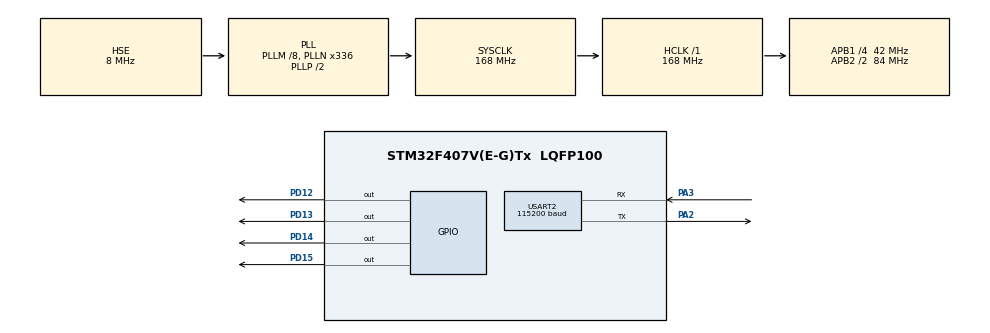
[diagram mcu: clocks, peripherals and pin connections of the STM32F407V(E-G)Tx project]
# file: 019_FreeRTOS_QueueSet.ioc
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FREERTOS.Tasks01=defaultTask,24,128,StartDefaultTask,Default,NULL,Dynamic,NULL,NULL
FREERTOS.configUSE_NEWLIB_REENTRANT=1
Mcu.Family=STM32F4
Mcu.Name=STM32F407V(E-G)Tx
Mcu.Package=LQFP100
NVIC.PriorityGroup=NVIC_PRIORITYGROUP_4
NVIC.TIM8_TRG_COM_TIM14_IRQn=true\:15\:0\:false\:false\:true\:false\:false\:true\:true
NVIC.TimeBase=TIM8_TRG_COM_TIM14_IRQn
NVIC.TimeBaseIP=TIM14
NVIC.USART2_IRQn=true\:5\:0\:false\:false\:true\:true\:true\:true\:true
PA2.Mode=Asynchronous
PA2.Signal=USART2_TX
PA3.Mode=Asynchronous
PA3.Signal=USART2_RX
PD12.Signal=GPIO_Output
PD13.Signal=GPIO_Output
PD14.Signal=GPIO_Output
PD15.Signal=GPIO_Output
PH0-OSC_IN.Mode=HSE-External-Oscillator
PH0-OSC_IN.Signal=RCC_OSC_IN
PH1-OSC_OUT.Mode=HSE-External-Oscillator
PH1-OSC_OUT.Signal=RCC_OSC_OUT
ProjectManager.HeapSize=0x200
ProjectManager.StackSize=0x400
ProjectManager.TargetToolchain=STM32CubeIDE
RCC.48MHZClocksFreq_Value=48000000
RCC.AHBFreq_Value=168000000
RCC.APB1CLKDivider=RCC_HCLK_DIV4
RCC.APB1Freq_Value=42000000
RCC.APB1TimFreq_Value=84000000
RCC.APB2CLKDivider=RCC_HCLK_DIV2
RCC.APB2Freq_Value=84000000
RCC.APB2TimFreq_Value=168000000
RCC.CortexFreq_Value=168000000
RCC.HCLKFreq_Value=168000000
RCC.HSE_VALUE=8000000
RCC.HSI_VALUE=16000000
RCC.LSE_VALUE=32768
RCC.PLLM=8
RCC.PLLN=336
RCC.PLLQ=7
RCC.PLLSourceVirtual=RCC_PLLSOURCE_HSE
RCC.SYSCLKFreq_VALUE=168000000
RCC.SYSCLKSource=RCC_SYSCLKSOURCE_PLLCLK
RCC.VCOOutputFreq_Value=336000000
USART2.BaudRate=115200
USART2.VirtualMode=VM_ASYNC
VP_FREERTOS_VS_CMSIS_V2.Mode=CMSIS_V2
VP_SYS_VS_tim14.Mode=TIM14
board=STM32F407G-DISC1

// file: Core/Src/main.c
/* USER CODE BEGIN Header */
/**
  ******************************************************************************
  * @file           : main.c
  * @brief          : Main program body
  ******************************************************************************
  * @attention
  *
  * Copyright (c) 2023 STMicroelectronics.
  * All rights reserved.
  *
  * This software is licensed under terms that can be found in the LICENSE file
  * in the root directory of this software component.
  * If no LICENSE file comes with this software, it is provided AS-IS.
  *
  ******************************************************************************
  */
/* USER CODE END Header */
#include "main.h"

/* USER CODE BEGIN Includes */
#include "FreeRTOS.h"
#include "task.h"
#include "queue.h"
#include <stdio.h>
#include <string.h>
/* USER CODE END Includes */

UART_HandleTypeDef huart2;

/* Definitions for defaultTask */
/* USER CODE BEGIN PV */
/* Declare two variables of type QueueHandle_t. Both queues are added to the same queue set. */
static QueueHandle_t xQueue1 = NULL, xQueue2 = NULL;

/* Declare a variable of type QueueSetHandle_t. This is  the queue set to which the two queues are added */
static QueueSetHandle_t xQueueSet = NULL;
/* USER CODE END PV */

void SystemClock_Config(void);
static void MX_GPIO_Init(void);
static void MX_USART2_UART_Init(void);

/* USER CODE BEGIN 0 */
void vSenderTask1(void *pvParameters)
{
	const TickType_t xBlockTime = pdMS_TO_TICKS(100);
	const char * const pcMessage = "Message from vSenderTask1\r\n";

	/* As per most tasks, this task is implemented within an infinite loop */
	for(;;)
	{
		/* Block for 100ms */
		vTaskDelay(xBlockTime);

		/* Send this task's string to xQueue1. It is not necessary to use a block time, even though
		 * the queue can only one item, This is because the priority of the task that reads from the queue
		 * is higher than the priority of this task; as soon as this task writes to queue it will be pre-empted
		 * by the task reads from the queue, so the queue will already be empty again by the time the call to xQueueSend()
		 * returns. The block time is set to 0 */
		xQueueSend(xQueue1, &pcMessage, 0);
	}
}
void vSenderTask2(void *pvParameters)
{
	const TickType_t xBlockTime = pdMS_TO_TICKS(200);
	const char * const pcMessage = "Message from vSenderTask2\r\n";
	/* As per most tasks, this task is implemented within an infinite loop. */
	for(;;)
	{
		/* Block for 200ms. */
		 vTaskDelay( xBlockTime );
		 /* Send this task's string to xQueue2. It is not necessary to use a block
		 time, even though the queue can only hold one item. This is because the
		 priority of the task that reads from the queue is higher than the priority of
		 this task; as soon as this task writes to the queue it will be pre-empted by
		 the task that reads from the queue, so the queue will already be empty again
		 by the time the call to xQueueSend() returns. The block time is set to 0. */
		 xQueueSend( xQueue2, &pcMessage, 0 );
	}
}
void vReceiverTask(void *pvParameters)
{
	QueueHandle_t xQueueThatContainsData;
	char *pcReceivedString;
	/* as per most tasks, this task is implemented within infinite loop */
	for(;;)
	{
		/* Block on the queue set to wait for one of the queues in the set to contain data.
		 Cast the QueueSetMemberHandle_t value returned from xQueueSelectFromSet() to a
		 QueueHandle_t, as it is known all the members of the set are queues (the queue set
		 does not contain any semaphores). */
		xQueueThatContainsData = (QueueHandle_t) xQueueSelectFromSet(xQueueSet, portMAX_DELAY);
		/* An indefinite block time was used when reading from the queue set, so
		 xQueueSelectFromSet() will not have returned unless one of the queues in the set
		 contained data, and xQueueThatContainsData cannot be NULL. Read from the queue. It
		 is not necessary to specify a block time because it is known the queue contains
		 data. The block time is set to 0. */
		xQueueReceive(xQueueThatContainsData, &pcReceivedString, 0);

		HAL_UART_Transmit(&huart2, (uint8_t *)pcReceivedString,  strlen(pcReceivedString), HAL_MAX_DELAY);

	}
}
/* USER CODE END 0 */

int main(void)
{

  /* MCU Configuration--------------------------------------------------------*/

  /* Reset of all peripherals, Initializes the Flash interface and the Systick. */
  HAL_Init();

  /* Configure the system clock */
  SystemClock_Config();

  /* Initialize all configured peripherals */
  MX_GPIO_Init();
  MX_USART2_UART_Init();
  /* USER CODE BEGIN 2 */
  /* Create the two queues, both of which send character pointers. The priority of the receiving task is above the priority of
   * the sending tasks, so the queues will never have more than one item in them at any one time */
  xQueue1 = xQueueCreate(1, sizeof(char *));
  xQueue2 = xQueueCreate(1, sizeof(char *));

  /* Create the queue set. Two queues will be added to the set, each of which can contain 1 item, so the maximum number of queue,
   * handles the queue set will ever have to hold at one time is 2(2 queues mulitples by 1 item per queue.) */
  xQueueSet = xQueueCreateSet(1 * 2);

  /* Add the two queues to the set */
  xQueueAddToSet(xQueue1, xQueueSet);
  xQueueAddToSet(xQueue2, xQueueSet);

  /* Create the tasks that send to the queues */
  xTaskCreate(vSenderTask1, "Sender1", 1000, NULL, 1, NULL);
  xTaskCreate(vSenderTask2, "Sender2", 1000, NULL, 1, NULL);

  /* Create the task that reads from the queue set to determine which of the two queues contain data */
  xTaskCreate(vReceiverTask, "Receiver", 1000, NULL, 2, NULL);

  /* Start the scheduler so the created taks start executing */
  vTaskStartScheduler();
  /* USER CODE END 2 */

  /* Init scheduler */

  /* Create the thread(s) */
  /* creation of defaultTask */

  /* Start scheduler */
  /* We should never get here as control is now taken by the scheduler */
  /* Infinite loop */
  while (1)
  {

  }
}

void SystemClock_Config(void)
{
  RCC_OscInitTypeDef RCC_OscInitStruct = {0};
  RCC_ClkInitTypeDef RCC_ClkInitStruct = {0};

  /** Configure the main internal regulator output voltage
  */
  __HAL_RCC_PWR_CLK_ENABLE();
  __HAL_PWR_VOLTAGESCALING_CONFIG(PWR_REGULATOR_VOLTAGE_SCALE1);

  /** Initializes the RCC Oscillators according to the specified parameters
  * in the RCC_OscInitTypeDef structure.
  */
  RCC_OscInitStruct.OscillatorType = RCC_OSCILLATORTYPE_HSE;
  RCC_OscInitStruct.HSEState = RCC_HSE_ON;
  RCC_OscInitStruct.PLL.PLLState = RCC_PLL_ON;
  RCC_OscInitStruct.PLL.PLLSource = RCC_PLLSOURCE_HSE;
  RCC_OscInitStruct.PLL.PLLM = 8;
  RCC_OscInitStruct.PLL.PLLN = 336;
  RCC_OscInitStruct.PLL.PLLP = RCC_PLLP_DIV2;
  RCC_OscInitStruct.PLL.PLLQ = 7;
  if (HAL_RCC_OscConfig(&RCC_OscInitStruct) != HAL_OK)
  {
    Error_Handler();
  }

  /** Initializes the CPU, AHB and APB buses clocks
  */
  RCC_ClkInitStruct.ClockType = RCC_CLOCKTYPE_HCLK|RCC_CLOCKTYPE_SYSCLK
                              |RCC_CLOCKTYPE_PCLK1|RCC_CLOCKTYPE_PCLK2;
  RCC_ClkInitStruct.SYSCLKSource = RCC_SYSCLKSOURCE_PLLCLK;
  RCC_ClkInitStruct.AHBCLKDivider = RCC_SYSCLK_DIV1;
  RCC_ClkInitStruct.APB1CLKDivider = RCC_HCLK_DIV4;
  RCC_ClkInitStruct.APB2CLKDivider = RCC_HCLK_DIV2;

  if (HAL_RCC_ClockConfig(&RCC_ClkInitStruct, FLASH_LATENCY_5) != HAL_OK)
  {
    Error_Handler();
  }
}

static void MX_USART2_UART_Init(void)
{

  huart2.Instance = USART2;
  huart2.Init.BaudRate = 115200;
  huart2.Init.WordLength = UART_WORDLENGTH_8B;
  huart2.Init.StopBits = UART_STOPBITS_1;
  huart2.Init.Parity = UART_PARITY_NONE;
  huart2.Init.Mode = UART_MODE_TX_RX;
  huart2.Init.HwFlowCtl = UART_HWCONTROL_NONE;
  huart2.Init.OverSampling = UART_OVERSAMPLING_16;
  if (HAL_UART_Init(&huart2) != HAL_OK)
  {
    Error_Handler();
  }

}

static void MX_GPIO_Init(void)
{
  GPIO_InitTypeDef GPIO_InitStruct = {0};

  /* GPIO Ports Clock Enable */
  __HAL_RCC_GPIOH_CLK_ENABLE();
  __HAL_RCC_GPIOA_CLK_ENABLE();
  __HAL_RCC_GPIOD_CLK_ENABLE();

  /*Configure GPIO pin Output Level */
  HAL_GPIO_WritePin(GPIOD, GPIO_PIN_12|GPIO_PIN_13|GPIO_PIN_14|GPIO_PIN_15, GPIO_PIN_RESET);

  /*Configure GPIO pins : PD12 PD13 PD14 PD15 */
  GPIO_InitStruct.Pin = GPIO_PIN_12|GPIO_PIN_13|GPIO_PIN_14|GPIO_PIN_15;
  GPIO_InitStruct.Mode = GPIO_MODE_OUTPUT_PP;
  GPIO_InitStruct.Pull = GPIO_NOPULL;
  GPIO_InitStruct.Speed = GPIO_SPEED_FREQ_LOW;
  HAL_GPIO_Init(GPIOD, &GPIO_InitStruct);

}

void HAL_TIM_PeriodElapsedCallback(TIM_HandleTypeDef *htim)
{
  if (htim->Instance == TIM14) {
    HAL_IncTick();
  }
}

void Error_Handler(void)
{
  __disable_irq();
  while (1)
  {
  }
}
